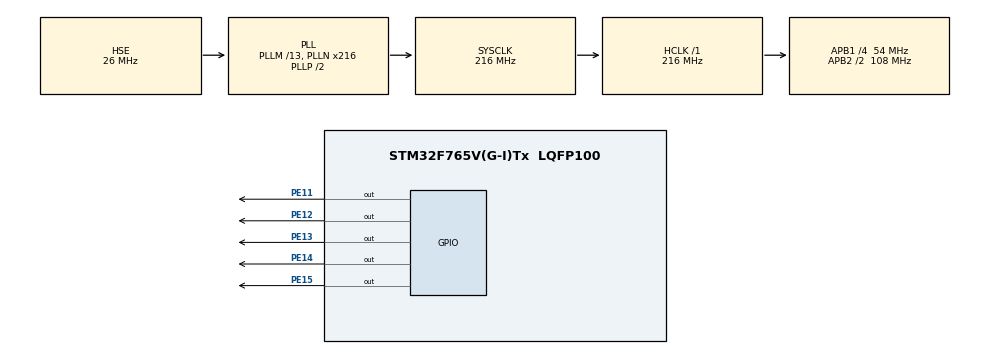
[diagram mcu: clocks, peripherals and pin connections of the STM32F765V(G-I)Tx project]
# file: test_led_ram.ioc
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Mcu.Family=STM32F7
Mcu.Name=STM32F765V(G-I)Tx
Mcu.Package=LQFP100
NVIC.PriorityGroup=NVIC_PRIORITYGROUP_4
PE11.Signal=GPIO_Output
PE12.Signal=GPIO_Output
PE13.Signal=GPIO_Output
PE14.Signal=GPIO_Output
PE15.Signal=GPIO_Output
PH0/OSC_IN.Mode=HSE-External-Clock-Source
PH0/OSC_IN.Signal=RCC_OSC_IN
PH1/OSC_OUT.Mode=HSE-External-Clock-Source
PH1/OSC_OUT.Signal=RCC_OSC_OUT
ProjectManager.HeapSize=0x200
ProjectManager.StackSize=0x400
ProjectManager.TargetToolchain=STM32CubeIDE
RCC.AHBFreq_Value=216000000
RCC.APB1CLKDivider=RCC_HCLK_DIV4
RCC.APB1Freq_Value=54000000
RCC.APB1TimFreq_Value=108000000
RCC.APB2CLKDivider=RCC_HCLK_DIV2
RCC.APB2Freq_Value=108000000
RCC.APB2TimFreq_Value=216000000
RCC.CortexFreq_Value=216000000
RCC.HCLKFreq_Value=216000000
RCC.HSE_VALUE=26000000
RCC.HSI_VALUE=16000000
RCC.LSE_VALUE=32768
RCC.PLLM=13
RCC.PLLN=216
RCC.PLLSourceVirtual=RCC_PLLSOURCE_HSE
RCC.SYSCLKFreq_VALUE=216000000
RCC.SYSCLKSource=RCC_SYSCLKSOURCE_PLLCLK
RCC.USBFreq_Value=216000000
RCC.VCOOutputFreq_Value=432000000
board=custom

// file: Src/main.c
/* USER CODE BEGIN Header */
/**
  ******************************************************************************
  * @file           : main.c
  * @brief          : Main program body
  ******************************************************************************
  * @attention
  *
  * <h2><center>&copy; Copyright (c) 2019 STMicroelectronics.
  * All rights reserved.</center></h2>
  *
  * This software component is licensed by ST under BSD 3-Clause license,
  * the "License"; You may not use this file except in compliance with the
  * License. You may obtain a copy of the License at:
  *                        opensource.org/licenses/BSD-3-Clause
  *
  ******************************************************************************
  */
/* USER CODE END Header */

#include "main.h"

void SystemClock_Config(void);
static void MX_GPIO_Init(void);

int main(void)
{

  /* MCU Configuration--------------------------------------------------------*/

  /* Reset of all peripherals, Initializes the Flash interface and the Systick. */
  HAL_Init();

  /* Configure the system clock */
  SystemClock_Config();

  /* Initialize all configured peripherals */
  MX_GPIO_Init();
  /* USER CODE BEGIN 2 */
  //HAL_GPIO_WritePin(GPIOE,GPIO_PIN_11|GPIO_PIN_12|GPIO_PIN_13|GPIO_PIN_14|GPIO_PIN_15, GPIO_PIN_SET);
  for(int i = 0; i < 10; i++){
  		HAL_GPIO_TogglePin(GPIOE,GPIO_PIN_11);
  		HAL_GPIO_TogglePin(GPIOE,GPIO_PIN_12);
  		HAL_GPIO_TogglePin(GPIOE,GPIO_PIN_13);
  		HAL_GPIO_TogglePin(GPIOE,GPIO_PIN_14);
  		HAL_GPIO_TogglePin(GPIOE,GPIO_PIN_15);
  		HAL_Delay(100);
  	}
  /* USER CODE END 2 */

  /* Infinite loop */
  /* USER CODE BEGIN WHILE */
  while (1)
  {/*
	  HAL_GPIO_WritePin(GPIOE,GPIO_PIN_11, GPIO_PIN_SET);
	  HAL_Delay(300);
	  HAL_GPIO_WritePin(GPIOE,GPIO_PIN_12, GPIO_PIN_SET);
	  HAL_Delay(300);
	  HAL_GPIO_WritePin(GPIOE,GPIO_PIN_13, GPIO_PIN_SET);
	  HAL_Delay(300);
	  HAL_GPIO_WritePin(GPIOE,GPIO_PIN_14, GPIO_PIN_SET);
	  HAL_Delay(300);
	  HAL_GPIO_WritePin(GPIOE,GPIO_PIN_15, GPIO_PIN_SET);
	  HAL_Delay(300);
	  HAL_GPIO_WritePin(GPIOE,GPIO_PIN_11|GPIO_PIN_12|GPIO_PIN_13|GPIO_PIN_14|GPIO_PIN_15, GPIO_PIN_RESET);
	  HAL_Delay(300);
	 */

	  HAL_GPIO_WritePin(GPIOE,GPIO_PIN_13, GPIO_PIN_SET);
	  HAL_Delay(300);
	  HAL_GPIO_WritePin(GPIOE,GPIO_PIN_13, GPIO_PIN_RESET);
	  HAL_GPIO_WritePin(GPIOE,GPIO_PIN_12, GPIO_PIN_SET);
	  HAL_GPIO_WritePin(GPIOE,GPIO_PIN_14, GPIO_PIN_SET);
	  HAL_Delay(300);
	  HAL_GPIO_WritePin(GPIOE,GPIO_PIN_12, GPIO_PIN_RESET);
	  HAL_GPIO_WritePin(GPIOE,GPIO_PIN_14, GPIO_PIN_RESET);
	  HAL_GPIO_WritePin(GPIOE,GPIO_PIN_11, GPIO_PIN_SET);
	  HAL_GPIO_WritePin(GPIOE,GPIO_PIN_15, GPIO_PIN_SET);
	  HAL_Delay(300);
	  HAL_GPIO_WritePin(GPIOE,GPIO_PIN_11, GPIO_PIN_RESET);
	  HAL_GPIO_WritePin(GPIOE,GPIO_PIN_15, GPIO_PIN_RESET);
    /* USER CODE END WHILE */

  }
}

void SystemClock_Config(void)
{
  RCC_OscInitTypeDef RCC_OscInitStruct = {0};
  RCC_ClkInitTypeDef RCC_ClkInitStruct = {0};

  /** Configure the main internal regulator output voltage
  */
  __HAL_RCC_PWR_CLK_ENABLE();
  __HAL_PWR_VOLTAGESCALING_CONFIG(PWR_REGULATOR_VOLTAGE_SCALE1);
  /** Initializes the CPU, AHB and APB busses clocks
  */
  RCC_OscInitStruct.OscillatorType = RCC_OSCILLATORTYPE_HSE;
  RCC_OscInitStruct.HSEState = RCC_HSE_BYPASS;
  RCC_OscInitStruct.PLL.PLLState = RCC_PLL_ON;
  RCC_OscInitStruct.PLL.PLLSource = RCC_PLLSOURCE_HSE;
  RCC_OscInitStruct.PLL.PLLM = 13;
  RCC_OscInitStruct.PLL.PLLN = 216;
  RCC_OscInitStruct.PLL.PLLP = RCC_PLLP_DIV2;
  RCC_OscInitStruct.PLL.PLLQ = 2;
  if (HAL_RCC_OscConfig(&RCC_OscInitStruct) != HAL_OK)
  {
    Error_Handler();
  }
  /** Activate the Over-Drive mode
  */
  if (HAL_PWREx_EnableOverDrive() != HAL_OK)
  {
    Error_Handler();
  }
  /** Initializes the CPU, AHB and APB busses clocks
  */
  RCC_ClkInitStruct.ClockType = RCC_CLOCKTYPE_HCLK|RCC_CLOCKTYPE_SYSCLK
                              |RCC_CLOCKTYPE_PCLK1|RCC_CLOCKTYPE_PCLK2;
  RCC_ClkInitStruct.SYSCLKSource = RCC_SYSCLKSOURCE_PLLCLK;
  RCC_ClkInitStruct.AHBCLKDivider = RCC_SYSCLK_DIV1;
  RCC_ClkInitStruct.APB1CLKDivider = RCC_HCLK_DIV4;
  RCC_ClkInitStruct.APB2CLKDivider = RCC_HCLK_DIV2;

  if (HAL_RCC_ClockConfig(&RCC_ClkInitStruct, FLASH_LATENCY_7) != HAL_OK)
  {
    Error_Handler();
  }
}

static void MX_GPIO_Init(void)
{
  GPIO_InitTypeDef GPIO_InitStruct = {0};

  /* GPIO Ports Clock Enable */
  __HAL_RCC_GPIOH_CLK_ENABLE();
  __HAL_RCC_GPIOE_CLK_ENABLE();

  /*Configure GPIO pin Output Level */
  HAL_GPIO_WritePin(GPIOE, GPIO_PIN_11|GPIO_PIN_12|GPIO_PIN_13|GPIO_PIN_14
                          |GPIO_PIN_15, GPIO_PIN_RESET);

  /*Configure GPIO pins : PE11 PE12 PE13 PE14
                           PE15 */
  GPIO_InitStruct.Pin = GPIO_PIN_11|GPIO_PIN_12|GPIO_PIN_13|GPIO_PIN_14
                          |GPIO_PIN_15;
  GPIO_InitStruct.Mode = GPIO_MODE_OUTPUT_PP;
  GPIO_InitStruct.Pull = GPIO_NOPULL;
  GPIO_InitStruct.Speed = GPIO_SPEED_FREQ_LOW;
  HAL_GPIO_Init(GPIOE, &GPIO_InitStruct);

}

void Error_Handler(void)
{
}

/************************ (C) COPYRIGHT STMicroelectronics *****END OF FILE****/
